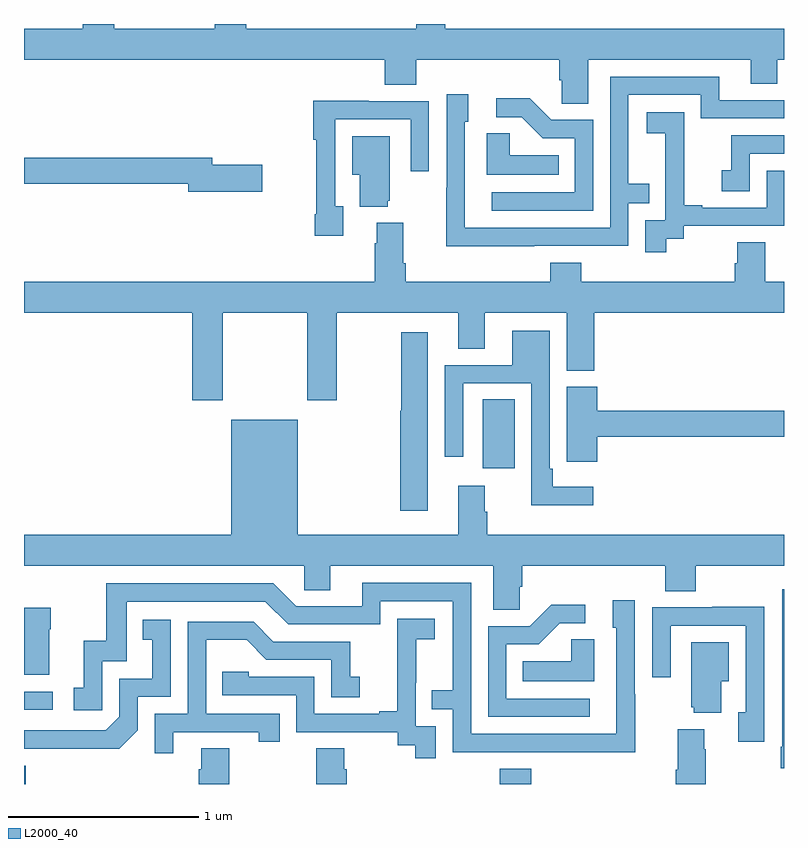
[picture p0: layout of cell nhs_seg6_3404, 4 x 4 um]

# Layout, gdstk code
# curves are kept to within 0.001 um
import gdstk
lib = gdstk.Library(unit=1e-6, precision=1e-09)
def R(c, l, rs):  # rectangles x0, y0, x1, y1
    for r in rs: c.add(gdstk.rectangle(r[:2], r[2:], *l))
def P(c, l, *ps):  # polygons
    for p in ps: c.add(gdstk.Polygon(p, *l))
L2000_40 = (2000, 40)

nhs_seg6_3404 = lib.new_cell('nhs_seg6_3404')
R(nhs_seg6_3404, L2000_40, [(311,967.5,311.009,967.597), (313.505,967.5,313.67,967.579), (311,967.89,311.152,967.986), (313.415,969.162,313.582,969.524)])
P(nhs_seg6_3404, L2000_40, [(311.309,971.476),(311,971.476),(311,971.312),(312.899,971.312),(312.899,971.179),(313.064,971.179),(313.064,971.312),(313.817,971.312),(313.817,971.203),(313.83,971.203),(313.83,971.08),(313.969,971.08),(313.969,971.312),(314.825,971.312),(314.825,971.185),(314.964,971.185),(314.964,971.312),(315,971.312),(315,971.476),(313.217,971.476),(313.217,971.5),(313.064,971.5),(313.064,971.476),(312.17,971.476),(312.17,971.5),(312.005,971.5),(312.005,971.476),(311.474,971.476),(311.474,971.5),(311.309,971.5)],
  [(313.685,970.332),(314.181,970.332),(314.181,970.557),(314.291,970.557),(314.291,970.658),(314.181,970.658),(314.181,971.127),(314.562,971.127),(314.562,971.004),(315,971.004),(315,971.1),(314.659,971.1),(314.659,971.223),(314.085,971.223),(314.085,970.428),(313.32,970.428),(313.32,970.986),(313.339,970.986),(313.339,971.131),(313.224,971.131),(313.224,970.637),(313.222,970.637),(313.222,970.331),(313.685,970.331)],
  [(313.995,970.995),(313.776,970.995),(313.663,971.108),(313.485,971.108),(313.485,971.01),(313.619,971.01),(313.73,970.899),(313.899,970.899),(313.899,970.614),(313.461,970.614),(313.461,970.518),(313.995,970.518)],
  [(312.679,970.542),(312.639,970.542),(312.639,970.998),(313.035,970.998),(313.035,970.725),(313.131,970.725),(313.131,971.094),(312.815,971.094),(312.815,971.096),(312.523,971.096),(312.523,970.891),(312.538,970.891),(312.538,970.498),(312.531,970.498),(312.531,970.386),(312.679,970.386)],
  [(314.38,970.369),(314.472,970.369),(314.472,970.437),(315,970.437),(315,970.728),(314.91,970.728),(314.91,970.533),(314.569,970.533),(314.569,970.546),(314.474,970.546),(314.474,970.829),(314.475,970.829),(314.475,971.035),(314.277,971.035),(314.277,970.925),(314.375,970.925),(314.375,970.697),(314.376,970.697),(314.376,970.467),(314.271,970.467),(314.271,970.299),(314.38,970.299)],
  [(313.814,970.81),(313.557,970.81),(313.557,970.925),(313.436,970.925),(313.436,970.706),(313.814,970.706)],
  [(314.82,970.818),(315,970.818),(315,970.914),(314.722,970.914),(314.722,970.729),(314.673,970.729),(314.673,970.62),(314.82,970.62)],
  [(312.914,970.569),(312.925,970.569),(312.925,970.909),(312.728,970.909),(312.728,970.706),(312.767,970.706),(312.767,970.538),(312.914,970.538)],
  [(312.253,970.76),(311.992,970.76),(311.992,970.796),(311,970.796),(311,970.66),(311.864,970.66),(311.864,970.618),(312.253,970.618)],
  [(311,969.98),(311.885,969.98),(311.885,969.519),(312.045,969.519),(312.045,969.98),(312.49,969.98),(312.49,969.519),(312.645,969.519),(312.645,969.98),(313.286,969.98),(313.286,969.79),(313.426,969.79),(313.426,969.98),(313.856,969.98),(313.856,969.676),(314,969.676),(314,969.98),(315,969.98),(315,970.144),(314.901,970.144),(314.901,970.352),(314.753,970.352),(314.753,970.242),(314.741,970.242),(314.741,970.144),(313.934,970.144),(313.934,970.243),(313.769,970.243),(313.769,970.144),(313.01,970.144),(313.01,970.24),(312.997,970.24),(312.997,970.453),(312.857,970.453),(312.857,970.346),(312.845,970.346),(312.845,970.144),(311,970.144)],
  [(313.996,969.064),(313.783,969.064),(313.783,969.16),(313.767,969.16),(313.767,969.886),(313.571,969.886),(313.571,969.705),(313.215,969.705),(313.215,969.222),(313.311,969.222),(313.311,969.609),(313.671,969.609),(313.671,968.966),(313.996,968.966)],
  [(313.126,969.877),(312.985,969.877),(312.985,969.464),(312.98,969.464),(312.98,968.937),(313.126,968.937)],
  [(314.018,969.328),(315,969.328),(315,969.464),(314.018,969.464),(314.018,969.591),(313.856,969.591),(313.856,969.307),(313.857,969.307),(313.857,969.195),(314.018,969.195)],
  [(313.608,968.539),(313.622,968.539),(313.622,968.648),(314.375,968.648),(314.375,968.515),(314.535,968.515),(314.535,968.648),(315,968.648),(315,968.812),(313.439,968.812),(313.439,968.933),(313.426,968.933),(313.426,969.07),(313.286,969.07),(313.286,968.812),(312.442,968.812),(312.442,969.418),(312.092,969.418),(312.092,968.812),(311,968.812),(311,968.648),(312.474,968.648),(312.474,968.521),(312.613,968.521),(312.613,968.648),(313.469,968.648),(313.469,968.416),(313.608,968.416)],
  [(314.217,967.973),(314.214,967.973),(314.214,968.467),(314.099,968.467),(314.099,968.322),(314.118,968.322),(314.118,967.764),(313.353,967.764),(313.353,968.559),(312.779,968.559),(312.779,968.436),(312.432,968.436),(312.312,968.556),(311.433,968.556),(311.433,968.254),(311.315,968.254),(311.315,968.007),(311.262,968.007),(311.262,967.887),(311.412,967.887),(311.412,968.145),(311.541,968.145),(311.541,968.46),(312.27,968.46),(312.39,968.34),(312.876,968.34),(312.876,968.463),(313.257,968.463),(313.257,967.994),(313.147,967.994),(313.147,967.893),(313.257,967.893),(313.257,967.668),(314.217,967.667)],
  [(315,968.524),(314.99,968.524),(314.99,967.696),(314.983,967.696),(314.983,967.584),(315,967.584)],
  [(313.978,967.95),(313.539,967.95),(313.539,968.235),(313.708,968.235),(313.819,968.346),(313.954,968.346),(313.954,968.444),(313.775,968.444),(313.662,968.331),(313.443,968.331),(313.443,967.854),(313.978,967.854)],
  [(314.895,968.432),(314.623,968.432),(314.623,968.43),(314.307,968.43),(314.307,968.061),(314.403,968.061),(314.403,968.334),(314.799,968.334),(314.799,967.878),(314.759,967.878),(314.759,967.722),(314.895,967.722)],
  [(311.134,968.315),(311.142,968.315),(311.142,968.428),(311,968.428),(311,968.075),(311.134,968.075)],
  [(313.167,967.803),(313.062,967.803),(313.062,968.033),(313.064,968.033),(313.064,968.261),(313.162,968.261),(313.162,968.371),(312.964,968.371),(312.964,968.165),(312.965,968.165),(312.965,967.882),(312.869,967.882),(312.869,967.869),(312.528,967.869),(312.528,968.064),(312.183,968.064),(312.183,968.091),(312.043,968.091),(312.043,967.968),(312.432,967.968),(312.432,967.773),(312.966,967.773),(312.966,967.705),(313.059,967.705),(313.059,967.635),(313.167,967.635)],
  [(311.598,967.782),(311.598,967.959),(311.772,967.959),(311.772,968.365),(311.626,968.365),(311.626,968.259),(311.675,968.259),(311.675,968.055),(311.502,968.055),(311.502,967.854),(311.43,967.782),(311,967.782),(311,967.686),(311.092,967.685),(311.5,967.685)],
  [(311.785,967.773),(312.236,967.773),(312.236,967.722),(312.347,967.722),(312.347,967.869),(311.958,967.869),(311.958,968.258),(312.172,968.258),(312.276,968.154),(312.618,968.154),(312.618,967.956),(312.766,967.956),(312.766,968.065),(312.717,968.065),(312.717,968.25),(312.313,968.25),(312.208,968.355),(311.862,968.355),(311.862,967.869),(311.688,967.869),(311.688,967.662),(311.785,967.662)],
  [(314.002,968.261),(313.881,968.261),(313.881,968.146),(313.624,968.146),(313.624,968.042),(314.002,968.042)],
  [(314.671,968.042),(314.71,968.042),(314.71,968.245),(314.513,968.245),(314.513,967.905),(314.525,967.905),(314.525,967.874),(314.671,967.874)],
  [(314.589,967.682),(314.581,967.682),(314.581,967.789),(314.441,967.789),(314.441,967.576),(314.429,967.576),(314.429,967.5),(314.589,967.5)],
  [(312.081,967.688),(311.933,967.688),(311.933,967.578),(311.921,967.578),(311.921,967.5),(312.081,967.5)],
  [(312.698,967.578),(312.685,967.578),(312.685,967.688),(312.538,967.688),(312.538,967.5),(312.698,967.5)])

lib.write_gds('nhs_seg6_3404.gds')
